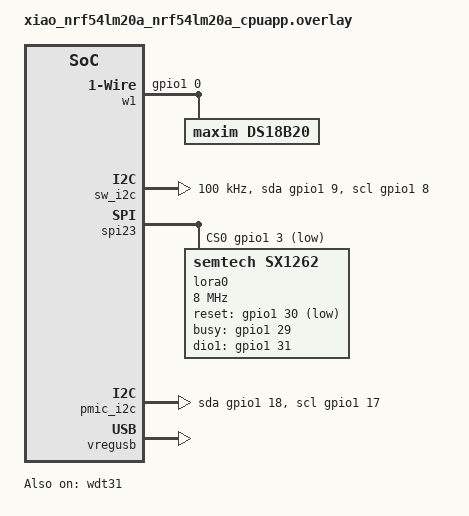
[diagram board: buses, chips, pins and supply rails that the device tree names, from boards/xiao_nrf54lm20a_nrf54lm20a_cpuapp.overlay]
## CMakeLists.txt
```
cmake_minimum_required(VERSION 3.20.0)

find_package(Zephyr REQUIRED HINTS $ENV{ZEPHYR_BASE})

project(TanenBase)

# Force LoRaWAN 1.0.3 crypto (TTN device registered as MAC V1.0.3)
add_compile_definitions(USE_LRWAN_1_1_X_CRYPTO=0)

# LoRaMac's NVM structs change size with REGION_* and SOFT_SE. The library is
# built with them (zephyr/subsys/lorawan/loramac-node, modules/loramac-node);
# lora.c must see the same layout, or sizeof(LoRaMacNvmData_t) comes out short
# (728 B) and the session save silently drops the tail — the join-accept
# CFList channels 3-7 — so every LinkADRReq from TTN was NACKed. lora.c
# BUILD_ASSERTs this.
target_compile_definitions(app PRIVATE $<$<BOOL:${CONFIG_HAS_SEMTECH_SOFT_SE}>:SOFT_SE>)
foreach(region AS923 AU915 CN470 CN779 EU433 EU868 KR920 IN865 US915 RU864)
  if(CONFIG_LORAWAN_REGION_${region})
    target_compile_definitions(app PRIVATE REGION_${region})
  endif()
endforeach()

# LoRaMac internal headers for NVM session save/restore
target_include_directories(app PRIVATE
    ${ZEPHYR_LORAMAC_NODE_MODULE_DIR}/src/mac
    ${ZEPHYR_LORAMAC_NODE_MODULE_DIR}/src/mac/region
    ${ZEPHYR_LORAMAC_NODE_MODULE_DIR}/src/system
    ${ZEPHYR_LORAMAC_NODE_MODULE_DIR}/src/boards
    ${ZEPHYR_LORAMAC_NODE_MODULE_DIR}/src/radio
    ${ZEPHYR_LORAMAC_NODE_MODULE_DIR}/src/peripherals
)

target_sources(app PRIVATE
    src/main.c
    src/core/fsm.c
    src/core/power.c
    src/core/watchdog.c
    src/drivers/weight.c
    src/drivers/temp.c
    src/drivers/battery.c
    src/drivers/lora.c
    src/config/config.c
    src/features/measurement/measure.c
    src/features/transmission/transmit.c
    src/features/anomaly/anomaly.c
)

# Load-cell temperature compensation is optional: measure.c and fsm.c guard
# every call site with IS_ENABLED(CONFIG_TANENBASE_TEMPCOMP).
target_sources_ifdef(CONFIG_TANENBASE_TEMPCOMP app PRIVATE
    src/features/measurement/tempcomp.c
)

# BLE config service is optional: fsm.c already guards every call site with
# IS_ENABLED(CONFIG_TANENBASE_BLE_CONFIG), so dropping the translation unit is
# enough to build with CONFIG_BT=n (useful for isolating radio-vs-sensor bugs).
target_sources_ifdef(CONFIG_TANENBASE_BLE_CONFIG app PRIVATE
    src/features/ble_config/ble_svc.c
    src/features/ble_config/ble_svc_gatt.c
    src/features/ble_config/ble_svc_cmd.c
)

# Extended Mode BLE sensors: fsm.c and ble_config/ guard every call site with
# IS_ENABLED(CONFIG_TANENBASE_EXT_SENSORS); the types in ext_sensors.h stay
# available to transmit.c either way.
target_sources_ifdef(CONFIG_TANENBASE_EXT_SENSORS app PRIVATE
    src/features/ext_sensors/ext_sensors.c
)
```

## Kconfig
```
mainmenu "TanenBase"

source "Kconfig.zephyr"

config TANENBASE_VERSION
	string "Firmware version (semver, no leading v)"
	default "1.0.1"
	help
	  Printed as the first line of the boot log, which is the first thing
	  anyone reads from a field unit — so it must name the release that is
	  actually flashed. The only copy of the version in the firmware; bump
	  it in the release commit together with the CHANGELOG heading and the
	  git tag. src/ must not carry a version literal of its own (that is how
	  1.0.0 shipped printing v0.3.0).

config TANENBASE_DEV_EUI
	string "LoRaWAN DevEUI (16 hex chars, MSB first)"
	default ""
	help
	  Fixed DevEUI override. Leave empty (default) to derive a unique
	  per-device DevEUI from the SoC factory hardware ID at first boot.
	  A ZMS-stored or BLE-provisioned DevEUI always takes precedence.

config TANENBASE_JOIN_EUI
	string "LoRaWAN JoinEUI (16 hex chars)"
	default "0000000000000000"

config TANENBASE_APP_KEY
	string "LoRaWAN AppKey (32 hex chars) — keep in prj_credentials.conf, never commit"
	default "00000000000000000000000000000000"

config TANENBASE_LORA_ABP
	bool "Activate by personalisation (ABP) instead of OTAA"
	help
	  Seeds the activation mode of a unit whose ZMS holds none; the
	  setup page's Network tab overrides it. ABP sends from the first
	  wake with a fixed DevAddr and session keys and never needs a
	  downlink — for sites where JoinAccepts do not get through.
	  Register the device in TTN as ABP, MAC v1.0.3 (docs/LORAWAN.md §13).

config TANENBASE_DEV_ADDR
	string "ABP DevAddr (8 hex chars, MSB first as TTN prints it)"
	default "00000000"

config TANENBASE_NWK_SKEY
	string "ABP NwkSKey (32 hex chars) — keep in prj_credentials.conf, never commit"
	default "00000000000000000000000000000000"

config TANENBASE_APP_SKEY
	string "ABP AppSKey (32 hex chars) — keep in prj_credentials.conf, never commit"
	default "00000000000000000000000000000000"

config TANENBASE_DEBUG_LOOP_INTERVAL
	int "Debug loop delay when System OFF is skipped (seconds)"
	default 180
	help
	  Minimum delay between cycles when ms_interval=0 (debug mode).
	  Must respect EU868 1% duty cycle at DR_0. Default 180s.

config TANENBASE_BLE_CONFIG
	bool "BLE GATT configuration service"
	default y

config TANENBASE_EXT_SENSORS
	bool "Extended Mode: SwitchBot BLE temperature/humidity sensors"
	default y
	depends on BT
	select BT_OBSERVER
	help
	  Up to 3 SwitchBot Outdoor Meters (max 2 in-hive, max 1 outside),
	  configured from the web setup page. Scanned only on wakes that
	  transmit; each sensor heard adds a 5-byte block to the uplink
	  (see transmit.h).

config TANENBASE_EXT_SCAN_TIMEOUT_MS
	int "Extended Mode scan timeout (milliseconds)"
	default 8000
	depends on TANENBASE_EXT_SENSORS
	help
	  Upper bound on the BLE scan of a transmitting wake. The scan ends
	  earlier as soon as every enabled sensor has sent temperature and
	  battery; a dead sensor costs the full timeout of radio RX.

config TANENBASE_ANOMALY
	bool "Anomaly detection (delta reporting)"
	default y

config TANENBASE_SETUP_TIMEOUT
	int "SETUP state timeout (seconds)"
	default 180

config TANENBASE_DEFAULT_TX_INTERVAL
	int "Default TX/heartbeat interval (seconds)"
	default 14400
	help
	  Mandatory heartbeat TX every N seconds. Default 14400 (4 hours).

config TANENBASE_DEFAULT_MS_INTERVAL
	int "Default measurement interval (seconds)"
	default 300
	help
	  Wake and measure every N seconds. Default 300 (5 minutes).
	  Minimum enforced: 60s.

config TANENBASE_TEMPCOMP
	bool "Load-cell temperature compensation"
	default y
	help
	  Correct the thermal drift of the load cell: a first-order lag filter
	  on the probe temperature plus one gain constant. Measured on the
	  reference unit: 350 g peak-to-peak on a constant 22 kg load over a
	  17.5 K daily cycle, down to sigma = 15.7 g compensated. Full report in
	  docs/load_cells/H40A-C3-0150/README.md.

	  Which constants it runs with is picked at RUNTIME from the load-cell
	  profile (setup page), not built in — one image serves every cell. This
	  switch only decides whether the correction is compiled at all.

config TANENBASE_LC_DEFAULT_PROFILE
	int "Default load-cell profile (0=generic 1=H40A-C3-0150 2=SBS-PF-150 3=custom)"
	default 1
	range 0 3
	help
	  Profile a unit runs until the setup page stores one. Must match
	  LC_PROFILE_* in src/config/config.h. 0 (generic) applies no correction,
	  3 (custom) uses the two constants below. See docs/load_cells/README.md.

config TANENBASE_TEMPCOMP_GAIN_MG_PER_K
	int "Custom-profile compensation gain (milligram per kelvin)"
	default 17734
	help
	  Gain of the CUSTOM profile: added to the raw weight per kelvin of
	  filtered temperature above T_ref. 17734 = +17.734 g/K, fitted on the
	  reference H40A cell and kept here as the starting point for a frame
	  that gets re-characterised.
	  THIS IS A PROPERTY OF THE CELL PLUS ITS MOUNT, not of any one cell
	  model — re-characterise after any mechanical change to the frame. Set
	  to 0 to keep the filter running (t_eff is logged) but apply no
	  correction. The setup page overrides this per unit.

config TANENBASE_TEMPCOMP_TAU_S
	int "Custom-profile thermal lag time constant (seconds)"
	default 1500
	help
	  Time constant of the low-pass filter on the probe temperature, which
	  models the lag between the probe and the cell body. 1500 = 25 min,
	  found by sweeping tau; the optimum is broad (15-40 min all within 1 g)
	  so it does not need tuning per unit — every built-in profile carries
	  the same value. Only matters while the probe is not bonded to the cell
	  body.

config TANENBASE_TEMPCOMP_T_REF_MDEG
	int "Fallback reference temperature (milli-Celsius)"
	default 25000
	help
	  T_ref used until the scale is tared — a tare stores the temperature it
	  ran at and that becomes T_ref from then on. 25000 = 25.000 C, the
	  anchor the coefficient was fitted at.

config TANENBASE_DEFAULT_WEIGHT_THRESHOLD
	int "Default weight anomaly threshold (grams)"
	default 2000

config TANENBASE_DEFAULT_TEMP_THRESHOLD
	int "Default temp anomaly threshold (centi-Celsius)"
	default 500
	help
	  500 = 5.00 degrees C.
```

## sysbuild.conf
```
# OTA readiness (TRD: MCUboot) — build with:  west build --sysbuild
#
# NCS Partition Manager lays out: mcuboot / mcuboot_primary / mcuboot_secondary,
# with zms_storage pinned by pm_static.yml (see that file — the pin is what
# keeps DevNonce/session/config alive across app-size changes and OTA).
#
# PRODUCTION: replace the default dev signing key before deployment:
#   SB_CONFIG_BOOT_SIGNATURE_KEY_FILE="C:/keys/tanenbase-mcuboot-ed25519.pem"
# Key stays OUT of the repo (same policy as prj_credentials.conf).
SB_CONFIG_BOOTLOADER_MCUBOOT=y
```

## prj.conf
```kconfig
# TanenBase base config
CONFIG_GPIO=y
CONFIG_LOG=y
# LOG_DEFAULT_LEVEL not set here (Zephyr default is already 3=INF). Assigning it
# here makes prj_production.conf's CONFIG_LOG=n a fatal Kconfig warning.

# --- Robustness (TRD 13.1 / AC-10) ---
# Task watchdog (sw, per-flow channel) + WDT31 hardware fallback.
CONFIG_WATCHDOG=y
CONFIG_TASK_WDT=y
CONFIG_TASK_WDT_HW_FALLBACK=y
# Fatal error (HardFault/BusFault/oops) → NCS handler (nrf/lib/fatal_error)
# does LOG_PANIC + cold reboot instead of parking the CPU forever.
CONFIG_RESET_ON_FATAL_ERROR=y
# MPU stack-overflow trap on every thread (fails fast into fault handler
# instead of silently corrupting the neighbour stack)
CONFIG_HW_STACK_PROTECTION=y
# Thread names in fault logs
CONFIG_THREAD_NAME=y

# UART off by default (battery mode) — enable via debug.conf overlay
CONFIG_SERIAL=n
CONFIG_CONSOLE=n
CONFIG_UART_CONSOLE=n
CONFIG_LOG_BACKEND_UART=n

# I2C (NAU7802 driven directly from src/drivers/weight.c)
CONFIG_I2C=y
CONFIG_I2C_GPIO=y

# DS18B20 temperature (1-Wire)
CONFIG_SENSOR=y
CONFIG_W1=y
CONFIG_DS18B20=y

# Battery via on-board nPM1300 charger (bit-banged pmic_i2c, SDA P1.18/SCL P1.17).
# The driver's init leaves ADC IBAT_EN + TASK_AUTO running, and the nPM1300 is
# on VBAT so those keep converting through the SoC's System OFF — power.c
# pmic_enter_sleep() clears them before poweroff. Charging itself is deleted in
# the overlay (primary cell). Do not enable NPM13XX without that sleep hook.
CONFIG_NPM13XX_CHARGER=y
# LDO1 (imu_vdd/dmic_vdd, Sense-only rail) must stay off — no regulator driver,
# nPM1300 POR default is off
CONFIG_REGULATOR_NPM13XX=n

# LoRaWAN
CONFIG_LORA=y
CONFIG_LORAWAN=y
CONFIG_LORAWAN_REGION_EU868=y
CONFIG_SPI=y
CONFIG_SYSTEM_WORKQUEUE_STACK_SIZE=4096
CONFIG_MAIN_STACK_SIZE=4096
CONFIG_HEAP_MEM_POOL_SIZE=8192

# ZMS for nonce persistence (direct, not via settings — settings_zms broken on nRF54L RRAM)
CONFIG_ZMS=y
CONFIG_FLASH=y
CONFIG_FLASH_MAP=y
CONFIG_FLASH_PAGE_LAYOUT=y
CONFIG_MPU_ALLOW_FLASH_WRITE=y
CONFIG_ZMS_LOOKUP_CACHE=y
CONFIG_ZMS_LOOKUP_CACHE_SIZE=128

# RX window timing tolerance (ms). Default 20 is too tight; 500 is far too wide —
# it stretches RX1 past the RX2 slot, and OnRxWindow2TimerEvent() returns early
# whenever RxSlot is still RX_SLOT_WIN_1, so RX2 never opened at ANY DR (join or
# uplink). At DR0 that is fatal: TTN moves an SF12 join-accept to RX2 when the
# gateway cannot afford 1.5 s of g1 airtime. 100 keeps RX1 at 4950-5310 ms, well
# clear of the 5950 ms RX2 timer.
CONFIG_LORAWAN_SYSTEM_MAX_RX_ERROR=100

# Disable settings subsystem (LoRaWAN NVM will use none)
CONFIG_LORAWAN_NVM_NONE=y

# RNG for LoRaMAC internals (channel hop / backoff). DevNonce is NOT random —
# it is a monotonic counter persisted in ZMS (see config_get_dev_nonce).
CONFIG_ENTROPY_GENERATOR=y

# Power management — System OFF with GRTC wake, CPU idle during k_sleep.
# NOTE: CONFIG_PM is NOT settable on nRF54L series (no HAS_PM) — idle states are
# handled by the SoC layer; do not re-add it, it silently resolves to n.
CONFIG_POWEROFF=y
CONFIG_PM_DEVICE=y
CONFIG_HWINFO=y

# BLE (SETUP mode config service via Web Bluetooth)
CONFIG_BT=y
CONFIG_BT_PERIPHERAL=y
CONFIG_BT_DEVICE_NAME="TanenBase"
CONFIG_BT_DEVICE_NAME_DYNAMIC=y
CONFIG_BT_SMP=y
CONFIG_BT_MAX_CONN=1
```

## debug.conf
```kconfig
# Debug overlay — enable console logging (deferred mode to not block RX windows).
# Console = uart20 (board default chosen zephyr,console), TX P1.11 / RX P1.10 ->
# on-board CMSIS-DAP VCOM -> COM port @115200. The nRF's own USBHS CDC console
# (cdc-acm-console snippet) does NOT enumerate on this board — see build.ps1.
CONFIG_SERIAL=y
CONFIG_CONSOLE=y
CONFIG_UART_CONSOLE=y
CONFIG_LOG=y
CONFIG_LOG_DEFAULT_LEVEL=3
CONFIG_LOG_BACKEND_UART=y
CONFIG_LOG_BUFFER_SIZE=4096
CONFIG_ZMS_LOG_LEVEL_DBG=y

# USBHS needs the vregusb (USB VBUS) regulator device (nrf_usbhs_wrapper.c)
CONFIG_REGULATOR=y

# Debug-only runtime checks (cost RAM/flash — never in production)
CONFIG_ASSERT=y
CONFIG_STACK_SENTINEL=y
CONFIG_THREAD_ANALYZER=y
CONFIG_THREAD_ANALYZER_USE_LOG=y
CONFIG_THREAD_ANALYZER_AUTO=y
CONFIG_THREAD_ANALYZER_AUTO_INTERVAL=60

# Disable System OFF in debug — set to 0 so power_off() returns without sleeping
CONFIG_TANENBASE_DEFAULT_MS_INTERVAL=60
```

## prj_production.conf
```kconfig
# Production overlay — no logging, size-optimized
CONFIG_LOG=n
CONFIG_CONSOLE=n
CONFIG_UART_CONSOLE=n
CONFIG_SIZE_OPTIMIZATIONS=y
# Override measurement interval for production (15 min)
CONFIG_TANENBASE_DEFAULT_MS_INTERVAL=900
```

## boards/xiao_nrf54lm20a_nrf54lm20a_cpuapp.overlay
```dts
/* TanenBase board overlay — XIAO nRF54LM20A Standard (non-Sense).
 * XIAO header roles kept 1:1 from the L15 build:
 * D0=1-Wire, D1=DIO1, D2=RST, D3=BUSY, D4=NSS, D6/D7=sw-I2C, D8-D10=SPI. */
#include <dt-bindings/lora/sx126x.h>

/* SX1262 on the XIAO header SPI = spi23 (D8=P1.04 SCK, D9=P1.05 MISO, D10=P1.06 MOSI) */
&spi23 {
	status = "okay";
	cs-gpios = <&gpio1 3 GPIO_ACTIVE_LOW>;		/* D4 = P1.03 NSS */

	lora0: sx1262@0 {
		compatible = "semtech,sx1262";
		reg = <0>;
		spi-max-frequency = <DT_FREQ_M(8)>;
		reset-gpios              = <&gpio1 30 GPIO_ACTIVE_LOW>;		/* D2 */
		busy-gpios               = <&gpio1 29 GPIO_ACTIVE_HIGH>;	/* D3 */
		dio1-gpios               = <&gpio1 31 GPIO_ACTIVE_HIGH>;	/* D1 */
		dio2-tx-enable;
		dio3-tcxo-voltage        = <SX126X_DIO3_TCXO_1V8>;
		tcxo-power-startup-delay-ms = <5>;
	};
};

/* On-board py25q64 NOR (spi00, P2.01/02/04/05) — unused. Never drive its
 * pins from software; see power.c DO-NOT-TOUCH list. */
&spi00 {
	status = "disabled";
};

/* Hardware watchdog for task_wdt fallback (60 s, TRD 13.1). Stops in
 * System OFF — every wake is a full reset that re-arms it in main(). */
&wdt31 {
	status = "okay";
};

/* Disable uart21 — its pins P1.08/P1.09 are D6/D7 (sw-I2C for NAU7802) */
&uart21 {
	status = "disabled";
};

/* Disable i2c22 — its pins P1.03/P1.07 are D4 (LoRa NSS) and D5 (LORA_RF_SW1,
 * the Wio-SX1262 antenna-switch control: left undriven, DIO2 switches the path). */
&i2c22 {
	status = "disabled";
};

/* Non-Sense variant: on-board IMU + PDM mic not populated */
&lsm6ds3tr_c {
	status = "disabled";
};

&i2c30 {
	status = "disabled";
};

&pdm20 {
	status = "disabled";
};

/* pwm20 pinctrl claims the RGB LED pins P1.22-24 — LED is GPIO-driven */
&pwm20 {
	status = "disabled";
};

&nfct {
	status = "disabled";
};

/* power_en (P1.12) is not connected in the schematic */
&power_en {
	/delete-property/ regulator-boot-on;
	status = "disabled";
};

/* Fix PMIC GPIO-I2C pins: SDA=P1.18, SCL=P1.17 (board dtsi wrongly has
 * P1.15/P1.16 — see platform-seeedboards examples/zephyr-battery) */
&pmic_i2c {
	sda-gpios = <&gpio1 18 GPIO_ACTIVE_HIGH>;
	scl-gpios = <&gpio1 17 GPIO_ACTIVE_HIGH>;
};

/* --- nPM1300 sleep-current config (2026-07-25) --------------------------
 * System OFF was 19.4 uA vs Seeed's 3.74 uA reference for this board at 3.7 V
 * on BAT; the NOR-flash DPD fix plus this section brought it to ~4 uA. The
 * nPM1300 sits on VBAT and keeps running straight through the SoC's System
 * OFF, so anything left enabled inside it bills to the sleep budget.
 *
 * pmic_leds: Seeed's low-power guide disables it, and the board dtsi arms
 * led0-mode="error" — which this unit would sit in permanently (see NTC
 * below). Nothing in TanenBase drives the PMIC LEDs. */
&pmic_leds {
	status = "disabled";
};

/* The charger stays ENABLED as a device (VBAT ADC is the only battery gauge
 * on this board) but is defanged:
 *
 * charging-enable deleted — SAFETY, not power. This unit runs a PRIMARY
 * Li-SOCl2 cell. If VBUS is ever applied (debug USB, bench supply) with
 * charging armed, the nPM1300 would push charge current into a
 * non-rechargeable lithium cell -> venting/fire. Never re-add this property
 * unless the cell on BAT is genuinely rechargeable.
 *
 * thermistor-ohms = 0 — no NTC is fitted. Left at 10k the charger parks in a
 * permanent NTC fault (which is what made led0-mode="error" relevant above).
 * 0 is a valid enum and makes the driver set the NTC-disable bit; the NTC
 * threshold loop then no-ops because the board dtsi sets no thresholds.
 *
 * Still leaves ADC IBAT_EN=1 + TASK_AUTO=1 after init — those are cleared
 * before System OFF in power.c pmic_enter_sleep(). */
&pmic_charger {
	/delete-property/ charging-enable;
	thermistor-ohms = <0>;
};

/* usbhs is left enabled by the board dtsi but no build uses it — the console
 * is uart20 -> CMSIS-DAP VCOM, and the USBHS CDC never enumerated on this
 * board. Kept only so a future USB build compiles: usbhs references vregusb
 * (USB VBUS regulator), which the SoC dtsi disables, and nrf_usbhs_wrapper.c
 * fails on undeclared __device_dts_ord_* without it (needs CONFIG_REGULATOR). */
&vregusb {
	status = "okay";
};

/ {
	aliases {
		lora0 = &lora0;
	};

	chosen {
		zephyr,settings-partition = &storage_partition;
	};

	w1: w1 {
		compatible = "zephyr,w1-gpio";
		gpios = <&gpio1 0 (GPIO_ACTIVE_HIGH | GPIO_OPEN_DRAIN | GPIO_PULL_UP)>;	/* D0 */

		ds18b20: ds18b20 {
			compatible = "maxim,ds18b20";
			/* 9-bit = 0.5°C, 94ms conv (vs 10-bit 0.25°C, 187ms).
			 * Anomaly threshold is 5°C → plenty of margin. */
			resolution = <9>;
		};
	};

	sw_i2c: sw_i2c {
		compatible = "gpio-i2c";
		sda-gpios = <&gpio1 9 (GPIO_ACTIVE_HIGH | GPIO_OPEN_DRAIN)>;	/* D7 */
		scl-gpios = <&gpio1 8 (GPIO_ACTIVE_HIGH | GPIO_OPEN_DRAIN)>;	/* D6 */
		clock-frequency = <I2C_BITRATE_STANDARD>;
		#address-cells = <1>;
		#size-cells = <0>;
		/* NAU7802 (addr 0x2A) driven directly from src/drivers/weight.c —
		 * no DT child node needed. */
	};
};
```

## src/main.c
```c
#include <zephyr/kernel.h>
#include <zephyr/logging/log.h>
#include "core/fsm.h"
#include "core/power.h"
#include "core/watchdog.h"

LOG_MODULE_REGISTER(main, LOG_LEVEL_INF);

int main(void)
{
    /* Watchdog FIRST — everything after this is supervised (TRD 13.1) */
    int ret = watchdog_init();
    if (ret < 0) {
        LOG_ERR("Watchdog init failed: %d — continuing UNSUPERVISED", ret);
    }

    /* Flash safety window — only on hard reset so System OFF can't brick board.
     * Timer/button wakes skip this to save 5s per cycle. */
    wake_reason_t reason = power_get_wake_reason();
    if (reason == WAKE_REASON_RESET) {
        k_sleep(K_SECONDS(5));
    }
    LOG_INF("TanenBase v%s initialized", CONFIG_TANENBASE_VERSION);
    /* Zena (2026-08-03): simple demo edit — visible from VS Code via git pull */

    ret = fsm_init();
    if (ret < 0) {
        LOG_ERR("FSM init failed: %d", ret);
        /* Field device: a dead-on-init unit must not park in main's return
         * path — reboot via watchdog starvation is pointless; sleep-retry
         * instead. GRTC wake re-runs full init from ROM. */
        (void)power_off(CONFIG_TANENBASE_DEFAULT_MS_INTERVAL);
        return ret;
    }

    while (1) {
        watchdog_feed();
        fsm_run();
    }

    return 0;
}
```
